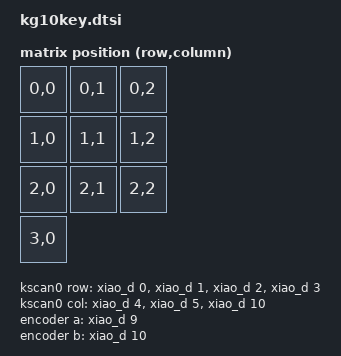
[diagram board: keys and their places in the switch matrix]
#include <dt-bindings/zmk/matrix_transform.h>

/ {
    default_transform: matrix_transform {
        compatible = "zmk,matrix-transform";
        columns = <3>;
        rows = <4>;
        map = <
            RC(0,0) RC(0,1) RC(0,2)
            RC(1,0) RC(1,1) RC(1,2)
            RC(2,0) RC(2,1) RC(2,2)
            RC(3,0)
        >;
    };

    kscan0: kscan {
        compatible = "zmk,kscan-gpio-matrix";
        diode-direction = "col2row";

        col-gpios
            = <&xiao_d 4 GPIO_ACTIVE_HIGH>
            , <&xiao_d 5 GPIO_ACTIVE_HIGH>
            , <&xiao_d 10 GPIO_ACTIVE_HIGH>
            ;

        row-gpios
            = <&xiao_d 0 (GPIO_ACTIVE_HIGH | GPIO_PULL_DOWN)>
            , <&xiao_d 1 (GPIO_ACTIVE_HIGH | GPIO_PULL_DOWN)>
            , <&xiao_d 2 (GPIO_ACTIVE_HIGH | GPIO_PULL_DOWN)>
            , <&xiao_d 3 (GPIO_ACTIVE_HIGH | GPIO_PULL_DOWN)>
            ;
    };

    // --- 【修正済み】ロータリーエンコーダーの定義 ---
    encoder: encoder {
        compatible = "alps,ec11";
        label = "MAIN_ENCODER";
        // 基板図のラベル9と10に合わせて D9 と D10 に変更
        a-gpios = <&xiao_d 9 (GPIO_ACTIVE_HIGH | GPIO_PULL_UP)>;
        b-gpios = <&xiao_d 10 (GPIO_ACTIVE_HIGH | GPIO_PULL_UP)>;
        steps = <80>;
    };

    // エンコーダーをセンサーとして登録
    sensors {
        compatible = "zmk,keymap-sensors";
        sensors = <&encoder>;
        triggers-per-rotation = <20>;
    };
};
